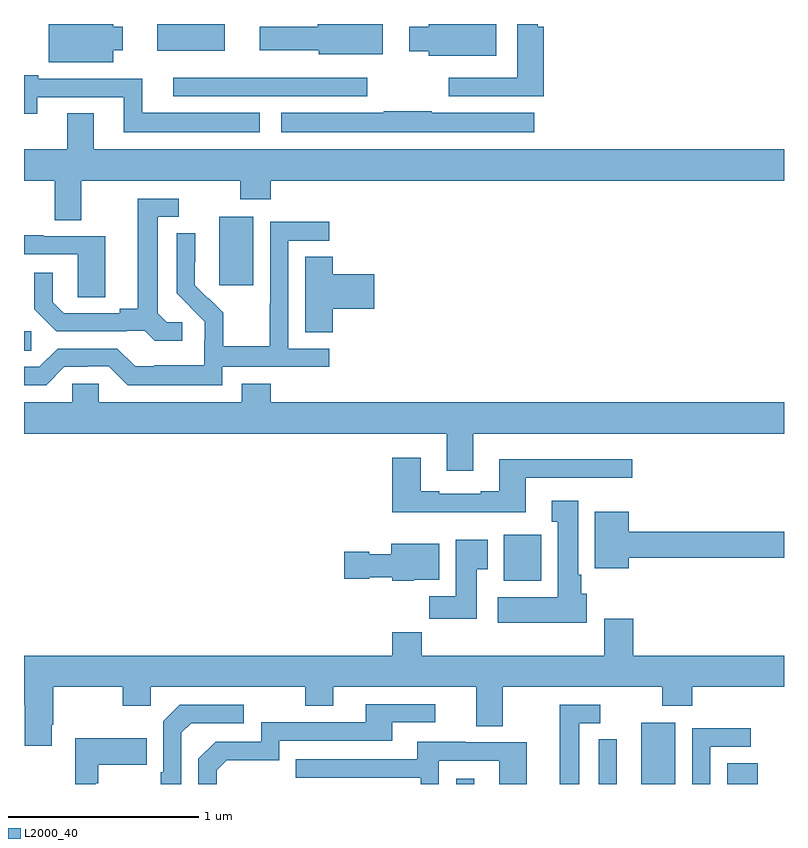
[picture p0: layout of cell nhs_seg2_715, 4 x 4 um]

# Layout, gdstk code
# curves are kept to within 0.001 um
import gdstk
lib = gdstk.Library(unit=1e-6, precision=1e-09)
def R(c, l, rs):  # rectangles x0, y0, x1, y1
    for r in rs: c.add(gdstk.rectangle(r[:2], r[2:], *l))
def P(c, l, *ps):  # polygons
    for p in ps: c.add(gdstk.Polygon(p, *l))
L2000_40 = (2000, 40)

nhs_seg2_715 = lib.new_cell('nhs_seg2_715')
R(nhs_seg2_715, L2000_40, [(149.274,637.8,149.371,637.828), (150.248,637.8,150.427,638.122), (150.701,637.8,150.862,637.91), (149.525,638.87,149.722,639.112), (147,640.081,147.037,640.182), (148.028,640.425,148.207,640.786), (147.701,641.66,148.057,641.8)])
P(nhs_seg2_715, L2000_40, [(148.888,641.8),(148.547,641.8),(148.547,641.785),(148.242,641.785),(148.242,641.663),(148.551,641.663),(148.551,641.642),(148.888,641.642)],
  [(149.485,641.8),(149.129,641.8),(149.129,641.785),(149.027,641.785),(149.027,641.656),(149.129,641.656),(149.129,641.633),(149.485,641.633)],
  [(147.469,641.663),(147.52,641.663),(147.52,641.785),(147.469,641.785),(147.469,641.8),(147.131,641.8),(147.131,641.6),(147.469,641.6)],
  [(149.735,641.785),(149.704,641.785),(149.704,641.8),(149.595,641.8),(149.595,641.517),(149.235,641.517),(149.235,641.421),(149.735,641.421)],
  [(148.24,641.332),(147.622,641.332),(147.622,641.511),(147.076,641.511),(147.076,641.531),(147,641.531),(147,641.328),(147.07,641.328),(147.07,641.415),(147.524,641.415),(147.524,641.231),(148.24,641.231)],
  [(148.807,641.517),(148.451,641.517),(148.451,641.518),(147.786,641.518),(147.786,641.421),(148.807,641.421)],
  [(149.686,641.332),(149.147,641.332),(149.147,641.342),(148.894,641.342),(148.894,641.332),(148.353,641.332),(148.353,641.231),(149.686,641.231)],
  [(147.301,640.976),(148.138,640.976),(148.138,640.877),(148.298,640.877),(148.298,640.976),(151,640.976),(151,641.14),(147.367,641.14),(147.367,641.33),(147.227,641.33),(147.227,641.14),(147,641.14),(147,640.976),(147.161,640.976),(147.161,640.768),(147.301,640.768)],
  [(147.832,640.23),(147.75,640.23),(147.703,640.277),(147.703,640.785),(147.814,640.785),(147.814,640.881),(147.599,640.881),(147.599,640.301),(147.503,640.301),(147.503,640.278),(147.208,640.278),(147.151,640.335),(147.151,640.492),(147.054,640.492),(147.054,640.298),(147.17,640.182),(147.542,640.182),(147.542,640.185),(147.636,640.185),(147.688,640.133),(147.832,640.133)],
  [(148.044,639.996),(148.606,639.996),(148.606,640.092),(148.392,640.092),(148.392,640.659),(148.606,640.659),(148.606,640.758),(148.296,640.758),(148.296,640.328),(148.294,640.328),(148.294,640.105),(148.049,640.105),(148.049,640.279),(147.972,640.356),(147.969,640.353),(147.899,640.424),(147.9,640.7),(147.804,640.7),(147.804,640.382),(147.95,640.234),(147.95,640.137),(147.948,640.137),(147.948,640.003),(147.685,640.003),(147.685,639.999),(147.585,639.999),(147.492,640.092),(147.177,640.092),(147.081,639.996),(147,639.996),(147,639.9),(147.117,639.9),(147.213,639.996),(147.332,639.996),(147.332,639.999),(147.447,639.999),(147.547,639.899),(148.044,639.899)],
  [(147.427,640.683),(147.103,640.683),(147.103,640.687),(147,640.687),(147,640.587),(147.282,640.587),(147.282,640.363),(147.427,640.363)],
  [(148.625,640.301),(148.843,640.301),(148.843,640.484),(148.625,640.484),(148.625,640.574),(148.481,640.574),(148.481,640.177),(148.625,640.177)],
  [(149.365,639.644),(151,639.644),(151,639.808),(148.298,639.808),(148.298,639.907),(148.145,639.907),(148.145,639.808),(147.393,639.808),(147.393,639.906),(147.255,639.906),(147.255,639.808),(147,639.808),(147,639.644),(149.225,639.644),(149.225,639.45),(149.365,639.45)],
  [(149.641,639.411),(150.202,639.411),(150.202,639.508),(149.501,639.508),(149.501,639.34),(149.405,639.34),(149.405,639.327),(149.185,639.327),(149.185,639.34),(149.089,639.34),(149.089,639.517),(148.937,639.517),(148.937,639.23),(149.641,639.23)],
  [(149.962,638.802),(149.932,638.802),(149.932,638.902),(149.917,638.902),(149.917,639.292),(149.777,639.292),(149.777,639.179),(149.81,639.179),(149.81,638.782),(149.493,638.782),(149.493,638.648),(149.962,638.648)],
  [(150.184,638.992),(151,638.992),(151,639.128),(150.184,639.128),(150.184,639.232),(150.005,639.232),(150.005,638.936),(150.184,638.936)],
  [(149.383,638.929),(149.44,638.929),(149.44,639.085),(149.273,639.085),(149.273,638.788),(149.134,638.788),(149.134,638.67),(149.383,638.67)],
  [(149.052,638.876),(149.185,638.876),(149.185,639.064),(148.934,639.064),(148.934,639.01),(148.818,639.01),(148.818,639.023),(148.686,639.023),(148.686,638.881),(148.818,638.881),(148.818,638.888),(148.938,638.888),(148.938,638.87),(149.052,638.87)],
  [(147.145,638.113),(147.153,638.113),(147.153,638.312),(147.52,638.312),(147.52,638.213),(147.666,638.213),(147.666,638.312),(148.48,638.312),(148.48,638.213),(148.627,638.213),(148.627,638.312),(149.381,638.312),(149.381,638.104),(149.521,638.104),(149.521,638.312),(150.358,638.312),(150.358,638.213),(150.518,638.213),(150.518,638.312),(151,638.312),(151,638.476),(150.206,638.476),(150.206,638.671),(150.053,638.671),(150.053,638.476),(149.093,638.476),(149.093,638.6),(148.937,638.6),(148.937,638.476),(147,638.476),(147,638.216),(147.005,638.216),(147.005,638.001),(147.145,638.001)],
  [(148.014,637.872),(148.067,637.925),(148.344,637.925),(148.344,638.028),(148.939,638.028),(148.939,638.124),(149.164,638.124),(149.164,638.22),(148.799,638.22),(148.799,638.124),(148.248,638.124),(148.248,638.022),(148.008,638.022),(147.918,637.932),(147.918,637.8),(148.014,637.8)],
  [(147.828,638.07),(147.879,638.121),(148.156,638.121),(148.156,638.217),(147.819,638.217),(147.732,638.13),(147.732,637.861),(147.72,637.861),(147.72,637.8),(147.828,637.8)],
  [(149.923,638.121),(150.034,638.121),(150.034,638.217),(149.819,638.217),(149.819,637.8),(149.923,637.8)],
  [(150.612,637.995),(150.826,637.995),(150.826,638.094),(150.516,638.094),(150.516,637.8),(150.612,637.8)],
  [(147.378,637.805),(147.391,637.805),(147.391,637.901),(147.647,637.901),(147.647,638.041),(147.27,638.041),(147.27,637.8),(147.378,637.8)],
  [(150.119,637.882),(150.12,637.882),(150.12,638.036),(150.024,638.036),(150.024,637.8),(150.119,637.8)],
  [(149.184,637.923),(149.502,637.923),(149.502,637.8),(149.647,637.8),(149.647,638.019),(149.323,638.019),(149.323,638.023),(149.069,638.023),(149.069,637.929),(148.429,637.929),(148.429,637.833),(149.088,637.833),(149.088,637.8),(149.184,637.8)])

lib.write_gds('nhs_seg2_715.gds')
